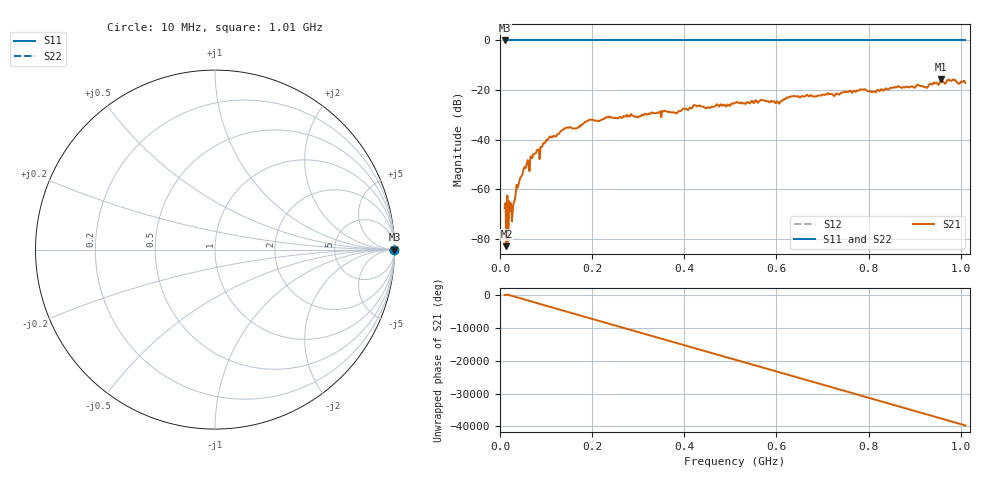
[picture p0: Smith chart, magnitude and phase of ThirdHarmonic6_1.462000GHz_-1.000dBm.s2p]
! 8/16/2025 5:00:26 PM
! C:\ANRITSUVNA\TEMP\TEMP.S2P
! CHANNEL.1
! TR.MEASUREMENT
! RAW.DATA
! RF.CORRECTION.OFF
! AVERAGING.OFF
! IF.BANDWIDTH: 5KHZ
! SWEEPTYPE:  FREQ.SWEEP(Linear)
! Reference Plane Port Info
! PORT:  PORT1  PORT2
! DISTANCE:  0  m  0  m
! TIME:  0  s  0  s
! PHASE.OFFSET:  0  deg.  0  deg.
! LOSS:  0  dB  0  dB
! REF.LOSS:  0  dB  0  dB
! REF.FREQ:  0  Hz  0  Hz
! Power Info
! POWER:  -20  dBm  -20  dBm
! EFF.POWER:  -20  dBm  -20  dBm
! SOURCE.ATTEN:  0  dB  0  dB
! TEST.ATTEN:  0  dB  0  dB
# GHZ S RI R 50.0
! FREQ.GHZ  S11RE  S11IM  S21RE  S21IM  S12RE  S12IM  S22RE  S22IM
!; PortSelection: Port_12
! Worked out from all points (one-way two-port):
!   501 points, 10 MHz to 1.01 GHz, reference 50 ohm
!   highest |S21| = -15.52 dB at 956 MHz (marker M1); lowest = -83.0 dB at 14 MHz (marker M2)
!   lowest |S11| = 0.0 dB at 10 MHz (marker M3)
!   |S11| at or under -10 dB: nowhere
!   |S22| runs from 0.0 to 0.0 dB; largest |S21 - S12| = 1.2
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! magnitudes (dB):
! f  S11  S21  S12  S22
! 10 MHz  0.0  -67.6  0.0  0.0
! 12 MHz  0.0  -65.6  0.0  0.0
! 14 MHz  0.0  -83.0  0.0  0.0
! 18 MHz  0.0  -80.9  0.0  0.0
! 20 MHz  0.0  -65.0  0.0  0.0
! 22 MHz  0.0  -68.8  0.0  0.0
! 24 MHz  0.0  -65.7  0.0  0.0
! 30 MHz  0.0  -65.1  0.0  0.0
! 40 MHz  0.0  -58.3  0.0  0.0
! 70 MHz  0.0  -47.5  0.0  0.0
! 108 MHz  0.0  -38.8  0.0  0.0
! 178 MHz  0.0  -33.9  0.0  0.0
! 196 MHz  0.0  -32.0  0.0  0.0
! 344 MHz  0.0  -29.2  0.0  0.0
! 510 MHz  0.0  -25.2  0.0  0.0
! 602 MHz  0.0  -24.5  0.0  0.0
! 634 MHz  0.0  -22.5  0.0  0.0
! 678 MHz  0.0  -22.5  0.0  0.0
! 844 MHz  0.0  -19.7  0.0  0.0
! 924 MHz  0.0  -18.8  0.0  0.0
! 956 MHz  0.0  -15.5  0.0  0.0
! 1.01 GHz  0.0  -17.1  0.0  0.0
